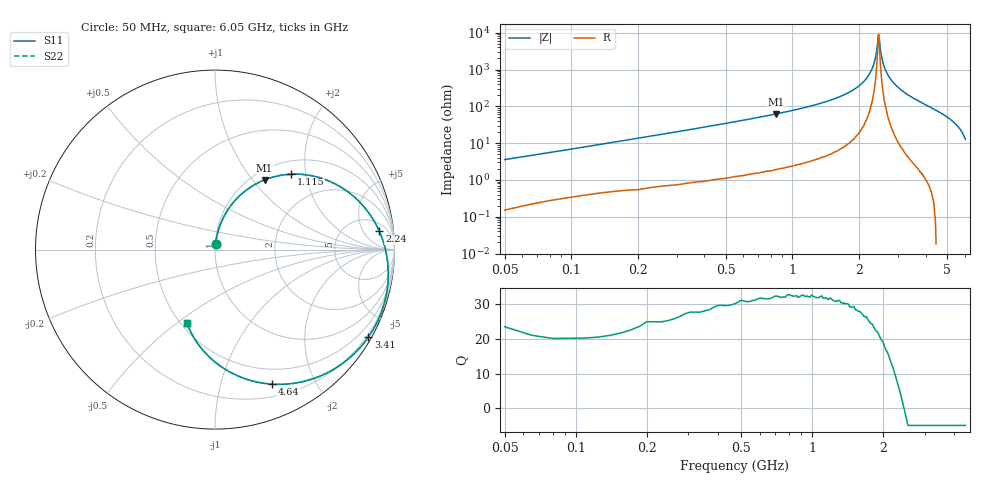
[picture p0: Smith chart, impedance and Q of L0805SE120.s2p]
! AVX Thin Film Operation		Date: May 2002
! Description: Accu-L® Series, Thin Film, SMD, RF Inductors
! Part Number: L0805120GEWTR
! 50 MHz  -  6.05 GHz
! Serial Measurements
# mhz S db R 50
!	S11		S21		S12		S22
!	dB	Phase	dB	Phase	dB	Phase	dB	Phase
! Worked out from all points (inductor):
!   401 points, 50 MHz to 6.05 GHz, reference 50 ohm
!   read as 1/Y11, port 2 shorted: L = 10.9 nH near 80 MHz
!   highest Q = 32.5 at 845 MHz (marker M1), where L = 11.7 nH
!   self-resonance near 2.45 GHz
!   S11 on the Smith chart (normalised r, x): 50 MHz: 1.00, +0.07; 1.115 GHz: 1.27, +1.66; 2.24 GHz: 9, +12; 3.41 GHz: 0.12, -3.76; 4.64 GHz: 0.33, -1.46; 6.05 GHz: 0.54, -0.54
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50  -29.56 84.5  -0.01 -2.2  -0.01 -2.2  -29.56 84.5
155  -20.28 80.8  -0.08 -6.4  -0.08 -6.4  -20.28 80.8
305  -14.60 75.2  -0.21 -12.4  -0.21 -12.4  -14.60 75.2
530  -10.07 66.6  -0.54 -21.2  -0.54 -21.2  -10.07 66.6
845  -6.44 54.6  -1.24 -33.1  -1.24 -33.1  -6.44 54.6
1055  -4.84 46.8  -1.88 -40.8  -1.88 -40.8  -4.84 46.8
1115  -4.46 44.6  -2.08 -42.9  -2.09 -42.9  -4.46 44.6
1550  -2.41 29.2  -3.96 -57.9  -3.96 -57.9  -2.41 29.2
2060  -1.03 12.2  -7.26 -74.1  -7.26 -74.1  -1.03 12.2
2240  -0.71 6.4  -8.87 -79.5  -8.87 -79.5  -0.71 6.4
2795  -0.16 -11.0  -17.60 -93.8  -17.60 -93.8  -0.16 -11.0
2960  -0.10 -16.1  -23.82 -93.8  -23.80 -93.8  -0.10 -16.1
3050  -0.09 -18.8  -30.56 -72.8  -30.60 -72.8  -0.09 -18.8
3095  -0.08 -20.2  -37.64 -54.6  -37.60 -54.6  -0.08 -20.2
3125  -0.08 -21.1  -35.31 -25.6  -35.30 -25.6  -0.08 -21.1
3260  -0.10 -25.2  -24.57 58.5  -24.60 58.5  -0.10 -25.2
3410  -0.14 -29.8  -18.51 59.8  -18.50 59.8  -0.14 -29.8
3680  -0.31 -38.0  -12.98 54.1  -13.00 54.1  -0.31 -38.0
4055  -0.72 -49.3  -8.75 44.3  -8.75 44.3  -0.72 -49.3
4640  -1.79 -67.1  -4.99 28.2  -4.99 28.2  -1.79 -67.1
5060  -2.93 -79.9  -3.30 16.7  -3.30 16.7  -2.93 -79.9
6050  -7.17 -111.0  -1.08 -9.1  -1.08 -9.1  -7.17 -111.0
